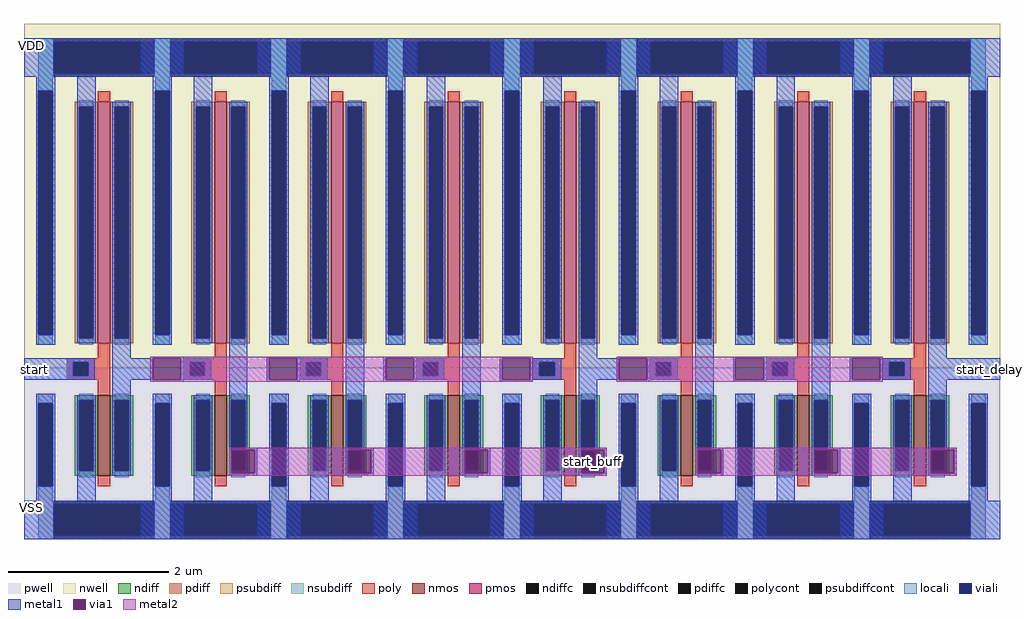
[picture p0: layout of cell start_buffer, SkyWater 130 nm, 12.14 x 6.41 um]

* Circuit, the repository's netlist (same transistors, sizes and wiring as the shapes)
** sch_path: /home/ttuser/Documents/tt09-analog-tdc/xschem/start_buffer.sch
.subckt start_buffer start start_delay start_buff VDD VSS
*.PININFO VDD:B VSS:B start:I start_delay:O start_buff:O
XM1 net1 start VDD VDD sky130_fd_pr__pfet_01v8 L=0.15 W=3 nf=1 m=1
XM2 net1 start VSS VSS sky130_fd_pr__nfet_01v8 L=0.15 W=1 nf=1 m=1
XM3 start_buff net1 VDD VDD sky130_fd_pr__pfet_01v8 L=0.15 W=12 nf=1 m=1
XM4 start_buff net1 VSS VSS sky130_fd_pr__nfet_01v8 L=0.15 W=4 nf=1 m=1
XM5 start_delay start_buff VDD VDD sky130_fd_pr__pfet_01v8 L=0.15 W=9 nf=1 m=1
XM6 start_delay start_buff VSS VSS sky130_fd_pr__nfet_01v8 L=0.15 W=3 nf=1 m=1
.ends
.end

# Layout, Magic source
magic
tech sky130A
<< metal1 >>
rect 0 605 18 623
rect 157 225 198 227
rect 0 198 53 225
rect 133 198 160 225
rect 195 198 198 225
rect 157 196 198 198
rect 302 225 343 227
rect 302 198 305 225
rect 340 198 343 225
rect 302 196 343 198
rect 447 225 488 227
rect 447 198 450 225
rect 485 198 488 225
rect 447 196 488 198
rect 592 225 633 227
rect 737 225 778 227
rect 592 198 595 225
rect 630 198 633 225
rect 713 198 740 225
rect 775 198 778 225
rect 592 196 633 198
rect 737 196 778 198
rect 882 225 923 227
rect 882 198 885 225
rect 920 198 923 225
rect 882 196 923 198
rect 1027 225 1068 227
rect 1027 198 1030 225
rect 1065 198 1068 225
rect 1148 198 1214 225
rect 1027 196 1068 198
rect 255 111 290 114
rect 255 82 258 111
rect 287 82 290 111
rect 255 79 290 82
rect 400 111 435 114
rect 400 82 403 111
rect 432 82 435 111
rect 400 79 435 82
rect 545 111 580 114
rect 545 82 548 111
rect 577 82 580 111
rect 545 79 580 82
rect 690 111 725 114
rect 690 82 693 111
rect 722 82 725 111
rect 690 79 725 82
rect 835 111 870 114
rect 835 82 838 111
rect 867 82 870 111
rect 835 79 870 82
rect 980 111 1015 114
rect 980 82 983 111
rect 1012 82 1015 111
rect 980 79 1015 82
rect 1125 111 1160 114
rect 1125 82 1128 111
rect 1157 82 1160 111
rect 1125 79 1160 82
rect 0 30 18 48
<< via1 >>
rect 160 198 195 225
rect 305 198 340 225
rect 450 198 485 225
rect 595 198 630 225
rect 740 198 775 225
rect 885 198 920 225
rect 1030 198 1065 225
rect 258 82 287 111
rect 403 82 432 111
rect 548 82 577 111
rect 693 82 722 111
rect 838 82 867 111
rect 983 82 1012 111
rect 1128 82 1157 111
<< metal2 >>
rect 157 225 633 227
rect 157 198 160 225
rect 195 198 305 225
rect 340 198 450 225
rect 485 198 595 225
rect 630 198 633 225
rect 157 196 633 198
rect 737 225 1068 227
rect 737 198 740 225
rect 775 198 885 225
rect 920 198 1030 225
rect 1065 198 1068 225
rect 737 196 1068 198
rect 255 111 725 114
rect 255 82 258 111
rect 287 82 403 111
rect 432 82 548 111
rect 577 82 693 111
rect 722 82 725 111
rect 255 79 725 82
rect 835 111 1160 114
rect 835 82 838 111
rect 867 82 983 111
rect 1012 82 1128 111
rect 1157 82 1160 111
rect 835 79 1160 82
use inverter_3_1x4  inverter_3_1x4_0
transform 1 0 -17 0 1 -12
box 17 12 651 653
use inverter_3_1x4  inverter_3_1x4_1
transform 1 0 563 0 1 -12
box 17 12 651 653
<< labels >>
rlabel metal1 0 198 27 225 0 start
port 1 nsew
rlabel metal1 1187 198 1214 225 0 start_delay
port 2 nsew
rlabel metal2 690 79 725 114 0 start_buff
port 3 nsew
rlabel metal1 0 605 18 623 0 VDD
port 4 nsew
rlabel metal1 0 30 18 48 0 VSS
port 5 nsew
<< end >>

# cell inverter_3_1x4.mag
magic
tech sky130A
use inverter_3_1  inverter_3_1_0
transform 1 0 2 0 1 110
box 15 -98 214 543
use inverter_3_1  inverter_3_1_2
transform 1 0 147 0 1 110
box 15 -98 214 543
use inverter_3_1  inverter_3_1_3
transform 1 0 292 0 1 110
box 15 -98 214 543
use inverter_3_1  inverter_3_1_4
transform 1 0 437 0 1 110
box 15 -98 214 543
<< end >>

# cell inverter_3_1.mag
magic
tech sky130A
magscale 1 2
<< nwell >>
rect 30 954 428 1086
rect 30 230 120 954
rect 338 896 428 954
rect 328 288 428 896
rect 338 230 428 288
<< pwell >>
rect 30 -196 428 230
<< psubdiff >>
rect 66 142 102 166
rect 66 -100 102 -64
rect 356 142 392 166
rect 356 -100 392 -64
rect 66 -196 104 -100
rect 354 -196 392 -100
<< nsubdiff >>
rect 66 954 104 1050
rect 354 954 392 1050
rect 66 920 102 954
rect 66 288 102 312
rect 356 920 392 954
rect 356 288 392 312
<< psubdiffcont >>
rect 66 -64 102 142
rect 356 -64 392 142
rect 104 -196 354 -100
<< nsubdiffcont >>
rect 104 954 354 1050
rect 66 312 102 920
rect 356 312 392 920
<< poly >>
rect 214 254 244 266
rect 136 244 244 254
rect 136 210 152 244
rect 190 210 244 244
rect 136 200 244 210
rect 214 188 244 200
<< polycont >>
rect 152 210 190 244
<< locali >>
rect 66 954 104 1050
rect 354 954 392 1050
rect 66 920 102 954
rect 66 288 102 312
rect 356 920 392 954
rect 356 288 392 312
rect 136 244 206 254
rect 136 210 152 244
rect 190 210 206 244
rect 136 200 206 210
rect 66 142 102 166
rect 66 -100 102 -64
rect 356 142 392 166
rect 356 -100 392 -64
rect 66 -196 104 -100
rect 354 -196 392 -100
<< viali >>
rect 104 962 354 1042
rect 66 312 102 920
rect 356 312 392 920
rect 152 210 190 244
rect 66 -64 102 142
rect 356 -64 392 142
rect 104 -188 354 -108
<< metal1 >>
rect 30 1042 428 1050
rect 30 962 104 1042
rect 354 962 428 1042
rect 30 954 428 962
rect 60 920 108 954
rect 60 312 66 920
rect 102 312 108 920
rect 162 892 208 954
rect 350 920 398 954
rect 60 288 108 312
rect 350 312 356 920
rect 392 312 398 920
rect 136 244 206 254
rect 136 210 152 244
rect 190 210 206 244
rect 136 200 206 210
rect 60 142 108 166
rect 250 162 296 292
rect 350 288 398 312
rect 60 -64 66 142
rect 102 -64 108 142
rect 350 142 398 166
rect 60 -100 108 -64
rect 162 -100 208 -38
rect 350 -64 356 142
rect 392 -64 398 142
rect 350 -100 398 -64
rect 30 -108 428 -100
rect 30 -188 104 -108
rect 354 -188 428 -108
rect 30 -196 428 -188
use sky130_fd_pr__nfet_01v8_6H9P4D  sky130_fd_pr__nfet_01v8_6H9P4D_0
transform 1 0 229 0 1 62
box -73 -126 73 126
use sky130_fd_pr__pfet_01v8_2K9SAN  sky130_fd_pr__pfet_01v8_2K9SAN_0
transform 1 0 229 0 1 592
box -109 -362 109 362
<< end >>

# cell sky130_fd_pr__nfet_01v8_6H9P4D: kit device sky130_fd_pr__nfet_01v8, w 1 l 0.150 m 1 nf 1 diffcov 100 polycov 100 guard 0 glc 1 grc 1 gtc 1 gbc 1 tbcov 100 rlcov 100 topc 0 botc 0 poverlap 0 doverlap 1 lmin 0.15 wmin 0.42 compatible {sky130_fd_pr__nfet_01v8 sky130_fd_pr__nfet_01v8_lvt sky130_fd_bs_flash__special_sonosfet_star sky130_fd_pr__nfet_g5v0d10v5 sky130_fd_pr__nfet_05v0_nvt sky130_fd_pr__nfet_03v3_nvt} full_metal 1 viasrc 100 viadrn 100 viagate 100 viagb 0 viagr 0 viagl 0 viagt 0

# cell sky130_fd_pr__pfet_01v8_2K9SAN: kit device sky130_fd_pr__pfet_01v8, w 3 l 0.15 m 1 nf 1 diffcov 100 polycov 100 guard 0 glc 1 grc 1 gtc 1 gbc 1 tbcov 100 rlcov 100 topc 0 botc 0 poverlap 0 doverlap 1 lmin 0.15 wmin 0.42 compatible {sky130_fd_pr__pfet_01v8 sky130_fd_pr__pfet_01v8_lvt sky130_fd_pr__pfet_01v8_hvt sky130_fd_pr__pfet_g5v0d10v5} full_metal 1 viasrc 100 viadrn 100 viagate 100 viagb 0 viagr 0 viagl 0 viagt 0
